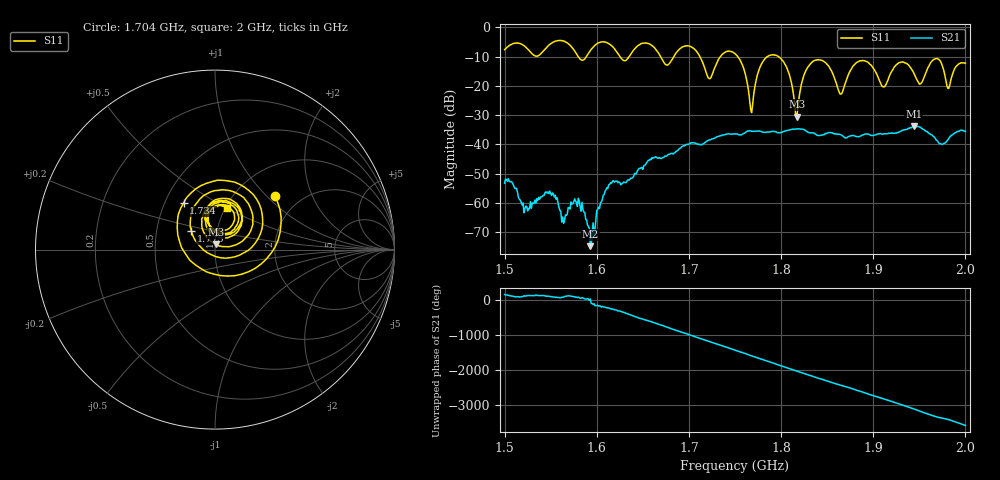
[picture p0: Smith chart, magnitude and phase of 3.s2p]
! NanoVNA-App by SYSJOINT et al v1.1.209 (+OD18)
! Date: 2026-01-21 14:47:36
! Start: 1,5GHz Stop: 2GHz Points: 501
! S-Parameter data: F S11 S21 S12 S22
# Hz S RI R 50
!  Frequency  S11_Real  S11_Imag  S21_Real  S21_Imag  S12_Real  S12_Imag  S22_Real  S22_Imag
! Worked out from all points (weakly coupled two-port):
!   501 points, 1.5 GHz to 2 GHz, reference 50 ohm
!   highest |S21| = -33.87 dB at 1.944 GHz (marker M1); lowest = -74.8 dB at 1.593 GHz (marker M2)
!   lowest |S11| = -30.5 dB at 1.817 GHz (marker M3), VSWR 1.06, Z = 50.5 + j2.96 ohm
!   |S11| at or under -10 dB: 1.712 GHz to 1.734 GHz (22.26 MHz wide, 1.29 % of centre); 1.753 GHz to 1.785 GHz (32.22 MHz wide, 1.82 % of centre); 1.797 GHz to end of sweep (the widest 3 of 6)
!   S12 and S22 are empty: the file has one direction only
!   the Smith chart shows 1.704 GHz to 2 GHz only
!   S11 on the Smith chart (normalised r, x): 1.704 GHz: 1.51, +1.12; 1.734 GHz: 0.62, +0.36; 1.775 GHz: 0.75, +0.16; 2 GHz: 1.02, +0.50
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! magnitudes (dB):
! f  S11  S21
! 1.5 GHz  -7.6  -53.3
! 1.523 GHz  -6.8  -61.1
! 1.584 GHz  -11.2  -59.8
! 1.593 GHz  -8.0  -74.8
! 1.615 GHz  -6.0  -53.1
! 1.667 GHz  -8.8  -44.8
! 1.704 GHz  -7.0  -39.5
! 1.722 GHz  -17.6  -38.5
! 1.734 GHz  -10.1  -37.0
! 1.75 GHz  -9.0  -36.4
! 1.768 GHz  -29.2  -35.5
! 1.775 GHz  -15.5  -35.5
! 1.799 GHz  -10.5  -36.1
! 1.817 GHz  -30.5  -34.7
! 1.834 GHz  -11.8  -36.1
! 1.865 GHz  -22.9  -36.8
! 1.885 GHz  -11.5  -37.4
! 1.917 GHz  -17.1  -36.2
! 1.944 GHz  -15.7  -33.9
! 1.97 GHz  -10.8  -39.0
! 1.982 GHz  -20.9  -38.0
! 2 GHz  -12.3  -35.7
